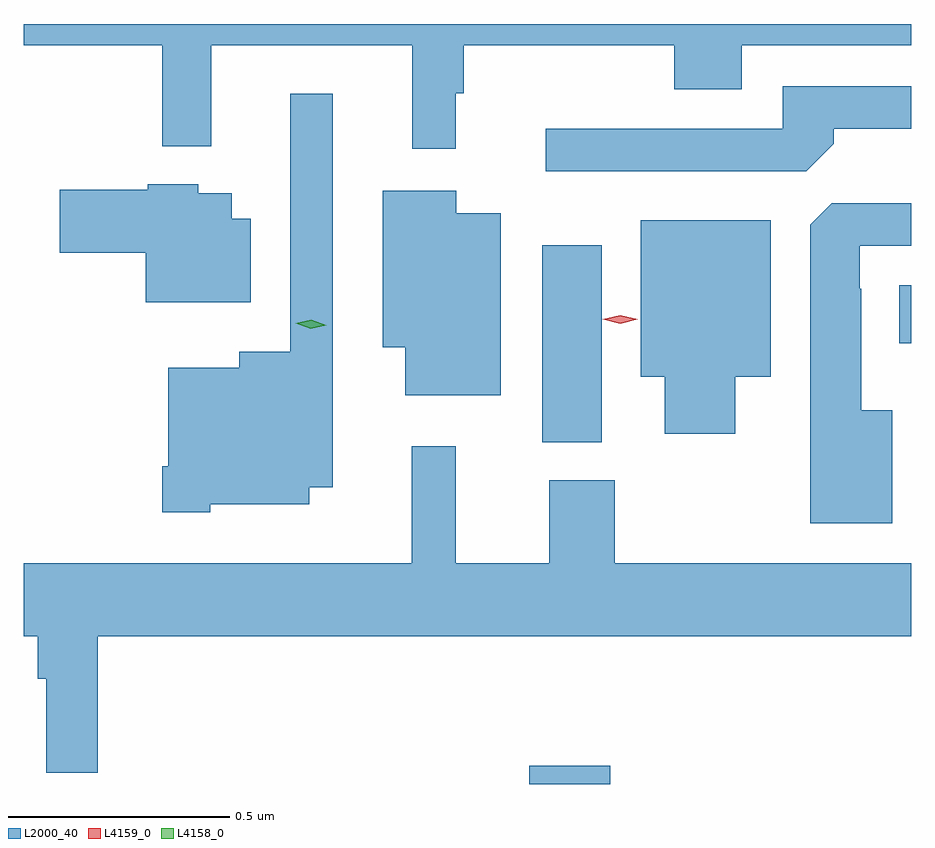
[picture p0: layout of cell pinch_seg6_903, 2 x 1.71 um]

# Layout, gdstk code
import gdstk
lib = gdstk.Library(unit=1e-6, precision=1e-09)
def R(c, l, rs):  # rectangles x0, y0, x1, y1
    for r in rs: c.add(gdstk.rectangle(r[:2], r[2:], *l))
def P(c, l, *ps):  # polygons
    for p in ps: c.add(gdstk.Polygon(p, *l))
L2000_40 = (2000, 40)
L4158_0 = (4158, 0)
L4159_0 = (4159, 0)

pinch_seg6_903 = lib.new_cell('pinch_seg6_903')
R(pinch_seg6_903, L2000_40, [(143.798,996.287,143.981,996.328), (143.828,997.057,143.962,997.501), (144.632,997.28,144.659,997.411)])
P(pinch_seg6_903, L2000_40, [(143.633,997.844),(143.651,997.844),(143.651,997.952),(144.125,997.952),(144.125,997.853),(144.277,997.853),(144.277,997.952),(144.659,997.952),(144.659,998),(142.659,998),(142.659,997.952),(142.971,997.952),(142.971,997.724),(143.081,997.724),(143.081,997.952),(143.534,997.952),(143.534,997.719),(143.633,997.719)],
  [(144.485,997.73),(144.485,997.764),(144.659,997.764),(144.659,997.86),(144.369,997.86),(144.369,997.764),(143.835,997.764),(143.835,997.668),(144.423,997.668)],
  [(143.079,996.917),(143.302,996.917),(143.302,996.956),(143.355,996.956),(143.355,997.843),(143.259,997.843),(143.259,997.261),(143.144,997.261),(143.144,997.225),(142.985,997.225),(142.985,997.003),(142.971,997.003),(142.971,996.899),(143.079,996.899)],
  [(143.17,997.561),(143.128,997.561),(143.128,997.618),(143.052,997.618),(143.052,997.639),(142.938,997.639),(142.938,997.626),(142.74,997.626),(142.74,997.484),(142.934,997.484),(142.934,997.373),(143.17,997.373)],
  [(143.734,997.573),(143.634,997.573),(143.634,997.624),(143.468,997.624),(143.468,997.271),(143.519,997.271),(143.519,997.163),(143.734,997.163)],
  [(144.616,997.129),(144.547,997.129),(144.547,997.403),(144.543,997.403),(144.543,997.5),(144.659,997.5),(144.659,997.596),(144.48,997.596),(144.431,997.547),(144.431,996.875),(144.616,996.875)],
  [(144.262,997.205),(144.343,997.205),(144.343,997.558),(144.05,997.558),(144.05,997.205),(144.104,997.205),(144.104,997.077),(144.262,997.077)],
  [(142.826,996.62),(144.659,996.62),(144.659,996.784),(143.991,996.784),(143.991,996.972),(143.843,996.972),(143.843,996.784),(143.633,996.784),(143.633,997.048),(143.533,997.048),(143.533,996.784),(142.659,996.784),(142.659,996.62),(142.69,996.62),(142.69,996.524),(142.71,996.524),(142.71,996.312),(142.826,996.312)])
P(pinch_seg6_903, L4158_0, [(143.306,997.313),(143.272,997.325),(143.272,997.325),(143.272,997.325),(143.307,997.333),(143.341,997.321),(143.341,997.321),(143.341,997.321)])
P(pinch_seg6_903, L4159_0, [(144.003,997.324),(143.964,997.334),(143.964,997.334),(143.964,997.335),(144.003,997.344),(144.043,997.335),(144.043,997.334),(144.043,997.334)])

lib.write_gds('pinch_seg6_903.gds')
